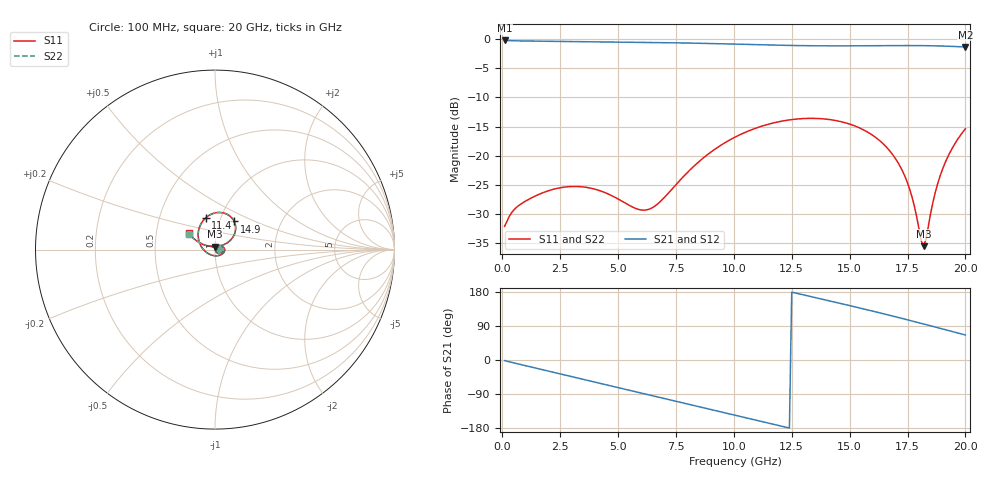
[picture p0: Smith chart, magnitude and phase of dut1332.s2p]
! Touchstone file exported from HFSS 2026.1.0
!  File:  C:/ffzhzh/LocalFiles/Ansys_Project_Files/temp_train_TSV_RDL_1332_1783338179_30076.aedt
!  Generated:  07:50:18 PM Jul  6, 2026
!  Design:  TSV_RDL
!  Project:  temp_train_TSV_RDL_1332_1783338179_30076
! Variables:
!  h_bsmrdl = 5.26um
!  h_ox = 20um
!  h_rdl = 5um
!  h_sub = 69.74um
!  h_tmrdl = 2.56um
!  h_tsv = 69.74um
!  h_via = 3um
!  l_bsmrdl = 510.35um
!  l_sub = 4341.51um
!  l_tmrdl = 569.33um
!  m_sub = 200um
!  pitch = 29.68um
!  r_tsv = 9.36um
!  s_tmrdl = 10um
!  w_bsmrdl = 27.92um
!  w_sub = 500um
!  w_tmrdl = 16.46um
!  x_tsv_center1 = 577.56um
!  x_tsv_center2 = 1115.83um
!  x_tsv_center3 = 1701.62um
!  x_tsv_center4 = 2239.89um
!  x_tsv_center5 = 2825.68um
!  x_tsv_center6 = 3363.95um
# GHz S MA R 50.000000
! Terminal data exported
! Port[1] = TM_RDL1_1_T1
! Port[2] = TM_RDL5_1_T1
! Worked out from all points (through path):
!   200 points, 100 MHz to 20 GHz, reference 50 ohm
!   highest |S21| = -0.21 dB at 100 MHz (marker M1); lowest = -1.3 dB at 20 GHz (marker M2)
!   group delay of S21, straight-line fit = 40.3 ps
!   lowest |S11| = -35.5 dB at 18.2 GHz (marker M3), VSWR 1.03, Z = 49.8 + j1.67 ohm
!   |S11| at or under -10 dB: start of sweep to end of sweep
!   |S22| runs from -35.9 to -13.6 dB; largest |S21 - S12| = 1.6e-14
!   S11 on the Smith chart (normalised r, x): 100 MHz: 1.05, +0.01; 11.4 GHz: 0.85, +0.31; 14.9 GHz: 1.17, +0.38; 20 GHz: 0.74, +0.14
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0.1  0.02481 9.3  0.9756 -1.6  0.9756 -1.6  0.02481 9.3
! Gamma 0 0 0 0
! Port Impedance 50 0 50 0
0.5  0.03434 18.1  0.969 -7.7  0.969 -7.7  0.03434 18.1
1.3  0.04392 16.6  0.9635 -19.3  0.9635 -19.3  0.04393 16.6
3.5  0.054 -8.5  0.9527 -51.2  0.9527 -51.2  0.05405 -8.5
4.8  0.0447 -38.6  0.947 -70.0  0.947 -70.0  0.04481 -38.7
6  0.03427 -91.6  0.9412 -87.4  0.9412 -87.4  0.03444 -91.6
6.8  0.04004 -139.6  0.9365 -99.0  0.9365 -99.0  0.0402 -139.5
8.3  0.08224 164.5  0.925 -120.8  0.925 -120.8  0.08231 164.7
10.1  0.1461 127.6  0.9065 -146.8  0.9065 -146.8  0.1462 127.6
11.4  0.1843 106.3  0.8928 -165.4  0.8928 -165.4  0.1843 106.3
13.4  0.2094 76.7  0.8785 166.4  0.8785 166.4  0.2094 76.7
14.9  0.1897 55.8  0.8767 145.0  0.8767 145.0  0.1898 55.8
15.9  0.1543 42.6  0.8791 130.4  0.8791 130.4  0.1543 42.4
16.7  0.1121 33.2  0.8815 118.4  0.8815 118.4  0.1121 32.9
17.5  0.05852 29.1  0.8825 106.0  0.8825 106.0  0.05844 28.5
17.8  0.03665 35.1  0.8821 101.3  0.8821 101.3  0.03645 34.1
18.1  0.01844 68.5  0.8811 96.6  0.8811 96.6  0.01786 67.3
18.2  0.01676 94.6  0.8807 95.0  0.8807 95.0  0.01605 94.4
18.6  0.04008 150.8  0.878 88.6  0.878 88.6  0.03967 151.7
18.9  0.06632 156.2  0.875 83.8  0.875 83.8  0.06601 156.8
19.4  0.113 154.5  0.8683 75.7  0.8683 75.7  0.1127 154.9
20  0.1702 148.0  0.857 66.0  0.857 66.0  0.17 148.3
